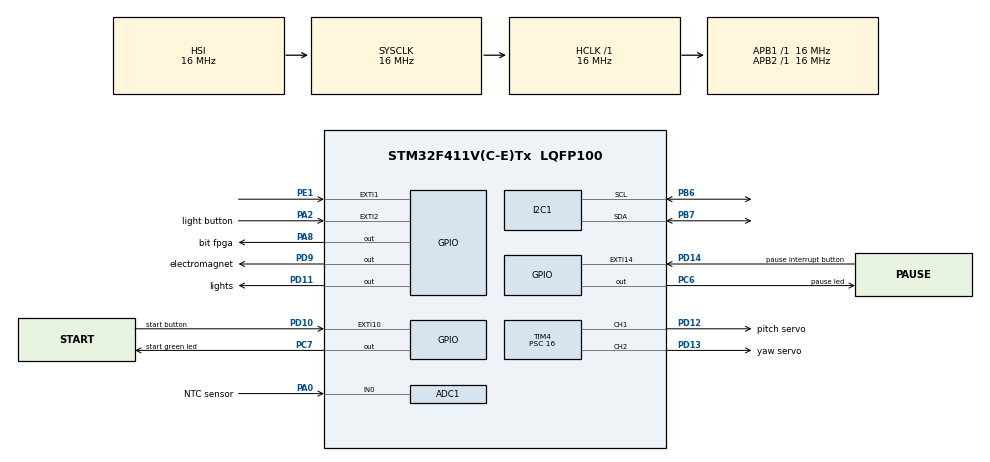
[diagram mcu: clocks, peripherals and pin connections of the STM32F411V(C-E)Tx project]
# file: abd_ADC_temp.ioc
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ADC1.Channel-12\#ChannelRegularConversion=ADC_CHANNEL_0
ADC1.ClockPrescaler=ADC_CLOCK_SYNC_PCLK_DIV8
ADC1.ContinuousConvMode=ENABLE
ADC1.DMAContinuousRequests=ENABLE
ADC1.DataAlign=ADC_DATAALIGN_RIGHT
ADC1.DiscontinuousConvMode=DISABLE
ADC1.EOCSelection=ADC_EOC_SINGLE_CONV
ADC1.EnableAnalogWatchDog=false
ADC1.ExternalTrigConv=ADC_SOFTWARE_START
ADC1.ExternalTrigConvEdge=ADC_EXTERNALTRIGCONVEDGE_NONE
ADC1.InjNumberOfConversion=0
ADC1.NbrOfConversion=1
ADC1.NbrOfConversionFlag=1
ADC1.Rank-12\#ChannelRegularConversion=1
ADC1.Resolution=ADC_RESOLUTION_8B
ADC1.SamplingTime-12\#ChannelRegularConversion=ADC_SAMPLETIME_480CYCLES
ADC1.ScanConvMode=DISABLE
ADC1.master=1
Dma.ADC1.0.Direction=DMA_PERIPH_TO_MEMORY
Dma.ADC1.0.FIFOMode=DMA_FIFOMODE_DISABLE
Dma.ADC1.0.Instance=DMA2_Stream0
Dma.ADC1.0.MemDataAlignment=DMA_MDATAALIGN_BYTE
Dma.ADC1.0.MemInc=DMA_MINC_ENABLE
Dma.ADC1.0.Mode=DMA_CIRCULAR
Dma.ADC1.0.PeriphDataAlignment=DMA_PDATAALIGN_BYTE
Dma.ADC1.0.PeriphInc=DMA_PINC_DISABLE
Dma.ADC1.0.Priority=DMA_PRIORITY_LOW
Dma.Request0=ADC1
I2C1.I2C_Mode=I2C_Fast
Mcu.Family=STM32F4
Mcu.Name=STM32F411V(C-E)Tx
Mcu.Package=LQFP100
NVIC.ADC_IRQn=true\:0\:0\:false\:false\:true\:true
NVIC.DMA2_Stream0_IRQn=true\:0\:0\:false\:false\:true\:false
NVIC.EXTI15_10_IRQn=true\:0\:0\:false\:false\:true\:true
NVIC.EXTI2_IRQn=true\:0\:0\:false\:false\:true\:true
NVIC.PriorityGroup=NVIC_PRIORITYGROUP_4
PA0-WKUP.GPIO_Label=NTC sensor
PA0-WKUP.Signal=ADCx_IN0
PA2.GPIO_Label=light button
PA2.GPIO_ModeDefaultEXTI=GPIO_MODE_IT_FALLING
PA2.GPIO_PuPd=GPIO_PULLUP
PA2.Signal=GPXTI2
PA8.GPIO_Label=bit fpga
PA8.Signal=GPIO_Output
PB6.Mode=I2C
PB6.Signal=I2C1_SCL
PB7.Mode=I2C
PB7.Signal=I2C1_SDA
PC6.GPIO_Label=pause led
PC6.GPIO_PuPd=GPIO_PULLUP
PC6.Signal=GPIO_Output
PC7.GPIO_Label=start green led
PC7.GPIO_PuPd=GPIO_NOPULL
PC7.Signal=GPIO_Output
PD10.GPIO_Label=start button
PD10.GPIO_ModeDefaultEXTI=GPIO_MODE_IT_RISING
PD10.GPIO_PuPd=GPIO_PULLUP
PD10.Signal=GPXTI10
PD11.GPIO_Label=lights
PD11.GPIO_PuPd=GPIO_NOPULL
PD11.Signal=GPIO_Output
PD12.GPIO_Label=pitch servo
PD12.GPIO_PuPd=GPIO_PULLUP
PD12.Signal=S_TIM4_CH1
PD13.GPIO_Label=yaw servo
PD13.GPIO_PuPd=GPIO_PULLUP
PD13.Signal=S_TIM4_CH2
PD14.GPIO_Label=pause interrupt button
PD14.GPIO_ModeDefaultEXTI=GPIO_MODE_IT_RISING
PD14.GPIO_PuPd=GPIO_PULLUP
PD14.Signal=GPXTI14
PD9.GPIO_Label=electromagnet
PD9.GPIO_PuPd=GPIO_PULLDOWN
PD9.PinState=GPIO_PIN_SET
PD9.Signal=GPIO_Output
PE1.Signal=GPXTI1
PH0\ -\ OSC_IN.Mode=HSE-External-Oscillator
PH0\ -\ OSC_IN.Signal=RCC_OSC_IN
PH1\ -\ OSC_OUT.Mode=HSE-External-Oscillator
PH1\ -\ OSC_OUT.Signal=RCC_OSC_OUT
ProjectManager.HeapSize=0x200
ProjectManager.StackSize=0x400
ProjectManager.TargetToolchain=MDK-ARM V5
RCC.AHBFreq_Value=16000000
RCC.APB1Freq_Value=16000000
RCC.APB2Freq_Value=16000000
RCC.CortexFreq_Value=16000000
RCC.HSE_VALUE=25000000
RCC.HSI_VALUE=16000000
RCC.LSE_VALUE=32768
RCC.SYSCLKFreq_VALUE=16000000
RCC.VCOOutputFreq_Value=192000000
SH.ADCx_IN0.0=ADC1_IN0,IN0
SH.S_TIM4_CH1.0=TIM4_CH1,PWM Generation1 CH1
SH.S_TIM4_CH2.0=TIM4_CH2,PWM Generation2 CH2
TIM4.Channel-PWM\ Generation1\ CH1=TIM_CHANNEL_1
TIM4.Channel-PWM\ Generation2\ CH2=TIM_CHANNEL_2
TIM4.Period=19999
TIM4.Prescaler=16
VP_TIM4_VS_ClockSourceINT.Mode=Internal
board=custom

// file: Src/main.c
/**
  ******************************************************************************
  * @file           : main.c
  * @brief          : Main program body
  ******************************************************************************
  ** This notice applies to any and all portions of this file
  * that are not between comment pairs USER CODE BEGIN and
  * USER CODE END. Other portions of this file, whether
  * inserted by the user or by software development tools
  * are owned by their respective copyright owners.
  *
  * COPYRIGHT(c) 2019 STMicroelectronics
  *
  * Redistribution and use in source and binary forms, with or without modification,
  * are permitted provided that the following conditions are met:
  *   1. Redistributions of source code must retain the above copyright notice,
  *      this list of conditions and the following disclaimer.
  *   2. Redistributions in binary form must reproduce the above copyright notice,
  *      this list of conditions and the following disclaimer in the documentation
  *      and/or other materials provided with the distribution.
  *   3. Neither the name of STMicroelectronics nor the names of its contributors
  *      may be used to endorse or promote products derived from this software
  *      without specific prior written permission.
  *
  * THIS SOFTWARE IS PROVIDED BY THE COPYRIGHT HOLDERS AND CONTRIBUTORS "AS IS"
  * AND ANY EXPRESS OR IMPLIED WARRANTIES, INCLUDING, BUT NOT LIMITED TO, THE
  * IMPLIED WARRANTIES OF MERCHANTABILITY AND FITNESS FOR A PARTICULAR PURPOSE ARE
  * DISCLAIMED. IN NO EVENT SHALL THE COPYRIGHT HOLDER OR CONTRIBUTORS BE LIABLE
  * FOR ANY DIRECT, INDIRECT, INCIDENTAL, SPECIAL, EXEMPLARY, OR CONSEQUENTIAL
  * DAMAGES (INCLUDING, BUT NOT LIMITED TO, PROCUREMENT OF SUBSTITUTE GOODS OR
  * SERVICES; LOSS OF USE, DATA, OR PROFITS; OR BUSINESS INTERRUPTION) HOWEVER
  * CAUSED AND ON ANY THEORY OF LIABILITY, WHETHER IN CONTRACT, STRICT LIABILITY,
  * OR TORT (INCLUDING NEGLIGENCE OR OTHERWISE) ARISING IN ANY WAY OUT OF THE USE
  * OF THIS SOFTWARE, EVEN IF ADVISED OF THE POSSIBILITY OF SUCH DAMAGE.
  *
  ******************************************************************************
  */
#include "main.h"
#include "stm32f4xx_hal.h"

/* USER CODE BEGIN Includes */
#include <math.h>
#include <stdbool.h>
#include "ssd1306.h"
#include <stdlib.h>
/* USER CODE END Includes */

ADC_HandleTypeDef hadc1;
DMA_HandleTypeDef hdma_adc1;

I2C_HandleTypeDef hi2c1;

TIM_HandleTypeDef htim4;

/* USER CODE BEGIN PV */
/* Private variables ---------------------------------------------------------*/

/* USER CODE END PV */

void SystemClock_Config(void);
static void MX_GPIO_Init(void);
static void MX_DMA_Init(void);
static void MX_ADC1_Init(void);
static void MX_TIM4_Init(void);
static void MX_I2C1_Init(void);

void HAL_TIM_MspPostInit(TIM_HandleTypeDef *htim);

/* USER CODE BEGIN PFP */
/* Private function prototypes -----------------------------------------------*/

/* USER CODE END PFP */

/* USER CODE BEGIN 0 */
uint32_t ADC_val[1] ,adc_buffer[1];

uint8_t oledCheck;

float therm = 0;
float R25 = 100000;
float T25 = 298.15;
float Vref = 3.3;
float Vmeas = 0;
float Vmeas0 = 0;
float Rmeas = 0;
float Tmeas = 0;
float B = 4092;
float Temp = 0;
float T = 0;

bool start_flag = 0;
bool magnetON = 0;  // flag para el robot segun esta el iman ON u OFF
bool boxDrop = 0; // flag para el movimiento de la caja desde la cinta a la cesta
bool pause = 0;
bool flag2 = 0;
bool  bit_robot = 0;
bool  bit_fpga = 0;

struct Servo {
  uint32_t initPos;
  uint32_t finPos;
  uint32_t Pos;
}yaw_servo, pitch_servo;

  void oled_print(float *temp){
    char oled_string[3];

    sprintf(oled_string, "%f", *temp); // copiamos el valor de la tmeperatura en eun string
    oledCheck = SSD1306_Init ();
    SSD1306_UpdateScreen(); //muestra los cambios en el display
    SSD1306_GotoXY (40,10); //posicion 10,10
    SSD1306_Puts (oled_string, &Font_11x18, 1);
    SSD1306_UpdateScreen(); //display
  }

  void updateServos(struct Servo *pitch_servo, struct Servo *yaw_servo){
     __HAL_TIM_SET_COMPARE (&htim4, TIM_CHANNEL_1, pitch_servo->Pos);
     __HAL_TIM_SET_COMPARE (&htim4, TIM_CHANNEL_2, yaw_servo->Pos);
  }

  void activate_EM(){
    HAL_GPIO_WritePin(GPIOD, GPIO_PIN_9, GPIO_PIN_RESET);
    magnetON = 1;
  }

  void deactivate_EM(){
    HAL_GPIO_WritePin(GPIOD, GPIO_PIN_9, GPIO_PIN_SET);
    magnetON = 0;
  }

  float calc_temp(float *ADC_reading){  // Conversion de la lectura en V del DAC del NTC a temperatura en grados Celsius
    Vmeas = Vref * (Vmeas0/255);
    Rmeas = R25 *((Vref/Vmeas)-1);
    Tmeas = 1/((logf(Rmeas/R25)/B) + (1/T25));
    T = Tmeas - 273;

    return T;
  }

	void HAL_ADC_ConvCpltCallback(ADC_HandleTypeDef *hadc){
		if(hadc->Instance == ADC1)
			ADC_val[0] = adc_buffer[0];
	}

/* USER CODE END 0 */

int main(void)
{
  /* USER CODE BEGIN 1 */
	  HAL_GPIO_WritePin(GPIOC,GPIO_PIN_7,0);

		oledCheck = SSD1306_Init ();
    SSD1306_UpdateScreen(); //muestra los cambios en el display
    SSD1306_GotoXY (40,10); //posicion 10,10
	  SSD1306_Puts ("max temp= 150C", &Font_11x18, 1);
    SSD1306_UpdateScreen(); //display

  /* USER CODE END 1 */

  /* MCU Configuration----------------------------------------------------------*/

  /* Reset of all peripherals, Initializes the Flash interface and the Systick. */
  HAL_Init();

  /* USER CODE BEGIN Init */
  yaw_servo.initPos = 1900;
  yaw_servo.finPos = 1000;
  yaw_servo.Pos = yaw_servo.initPos;

  pitch_servo.initPos = 1800;
  pitch_servo.finPos = 1300;
  pitch_servo.Pos = pitch_servo.initPos;

	HAL_GPIO_WritePin(GPIOD, GPIO_PIN_9, GPIO_PIN_RESET);

  oledCheck = SSD1306_Init ();
	SSD1306_Fill (0); //color negro
	SSD1306_UpdateScreen(); //muestra los cambios en el display
	SSD1306_GotoXY (40,10); //posicion 10,10
	SSD1306_Puts ("SEND", &Font_11x18, 1);
	SSD1306_GotoXY (35, 30); //posicion 10,30
	SSD1306_Puts ("NUDES!", &Font_11x18, 1);
	SSD1306_UpdateScreen(); //display
  /* USER CODE END Init */

  /* Configure the system clock */
  SystemClock_Config();

  /* Initialize all configured peripherals */
  MX_GPIO_Init();
  MX_DMA_Init();
  MX_ADC1_Init();
  MX_TIM4_Init();
  MX_I2C1_Init();
  /* USER CODE BEGIN 2 */
  HAL_ADC_Start_DMA(&hadc1, adc_buffer, 1);
  HAL_TIM_PWM_Start (&htim4,TIM_CHANNEL_1);
  HAL_TIM_PWM_Start (&htim4,TIM_CHANNEL_2);

  __HAL_TIM_SET_COMPARE (&htim4, TIM_CHANNEL_1, pitch_servo.initPos);
	__HAL_TIM_SET_COMPARE (&htim4, TIM_CHANNEL_2, yaw_servo.initPos);

  /* USER CODE END 2 */

  /* Infinite loop */
  while (1){

  /* USER CODE BEGIN 3 */

		Vmeas0 = (float)ADC_val[0];

    Temp = calc_temp(&T);
		if(!bit_robot){
		if(!pause){
    if(start_flag){
      if(!magnetON){

        if(pitch_servo.Pos == pitch_servo.finPos){
          activate_EM();
          HAL_Delay(1000);
        }
        if(pitch_servo.Pos > pitch_servo.finPos){
         pitch_servo.Pos-= 1;
         HAL_Delay(1);
        }
      }

      if(magnetON){

        if(!boxDrop){
          if(yaw_servo.Pos > yaw_servo.finPos){
            yaw_servo.Pos -= 1;
            HAL_Delay(1);
          }

          if(pitch_servo.Pos < pitch_servo.initPos){
            pitch_servo.Pos+= 1;
            HAL_Delay(1);
          }

          if(yaw_servo.Pos == yaw_servo.finPos && pitch_servo.Pos == pitch_servo.initPos){
            HAL_Delay(200);
            boxDrop = true;
          }
				}

        if(boxDrop){
          pitch_servo.Pos -= 1;
          HAL_Delay(1);
          if(pitch_servo.Pos == pitch_servo.finPos){
						HAL_Delay(1000);
						deactivate_EM();
            boxDrop = false;
						start_flag = 0;
          }
        }
			}

  }
	}
    updateServos(&pitch_servo, &yaw_servo);
	}
  }
  /* USER CODE END 3 */

}

void SystemClock_Config(void)
{

  RCC_OscInitTypeDef RCC_OscInitStruct;
  RCC_ClkInitTypeDef RCC_ClkInitStruct;

    /**Configure the main internal regulator output voltage
    */
  __HAL_RCC_PWR_CLK_ENABLE();

  __HAL_PWR_VOLTAGESCALING_CONFIG(PWR_REGULATOR_VOLTAGE_SCALE1);

    /**Initializes the CPU, AHB and APB busses clocks
    */
  RCC_OscInitStruct.OscillatorType = RCC_OSCILLATORTYPE_HSI;
  RCC_OscInitStruct.HSIState = RCC_HSI_ON;
  RCC_OscInitStruct.HSICalibrationValue = 16;
  RCC_OscInitStruct.PLL.PLLState = RCC_PLL_NONE;
  if (HAL_RCC_OscConfig(&RCC_OscInitStruct) != HAL_OK)
  {
    _Error_Handler(__FILE__, __LINE__);
  }

    /**Initializes the CPU, AHB and APB busses clocks
    */
  RCC_ClkInitStruct.ClockType = RCC_CLOCKTYPE_HCLK|RCC_CLOCKTYPE_SYSCLK
                              |RCC_CLOCKTYPE_PCLK1|RCC_CLOCKTYPE_PCLK2;
  RCC_ClkInitStruct.SYSCLKSource = RCC_SYSCLKSOURCE_HSI;
  RCC_ClkInitStruct.AHBCLKDivider = RCC_SYSCLK_DIV1;
  RCC_ClkInitStruct.APB1CLKDivider = RCC_HCLK_DIV1;
  RCC_ClkInitStruct.APB2CLKDivider = RCC_HCLK_DIV1;

  if (HAL_RCC_ClockConfig(&RCC_ClkInitStruct, FLASH_LATENCY_0) != HAL_OK)
  {
    _Error_Handler(__FILE__, __LINE__);
  }

    /**Configure the Systick interrupt time
    */
  HAL_SYSTICK_Config(HAL_RCC_GetHCLKFreq()/1000);

    /**Configure the Systick
    */
  HAL_SYSTICK_CLKSourceConfig(SYSTICK_CLKSOURCE_HCLK);

  /* SysTick_IRQn interrupt configuration */
  HAL_NVIC_SetPriority(SysTick_IRQn, 0, 0);
}

/* ADC1 init function */
static void MX_ADC1_Init(void)
{

  ADC_ChannelConfTypeDef sConfig;

    /**Configure the global features of the ADC (Clock, Resolution, Data Alignment and number of conversion)
    */
  hadc1.Instance = ADC1;
  hadc1.Init.ClockPrescaler = ADC_CLOCK_SYNC_PCLK_DIV8;
  hadc1.Init.Resolution = ADC_RESOLUTION_8B;
  hadc1.Init.ScanConvMode = DISABLE;
  hadc1.Init.ContinuousConvMode = ENABLE;
  hadc1.Init.DiscontinuousConvMode = DISABLE;
  hadc1.Init.ExternalTrigConvEdge = ADC_EXTERNALTRIGCONVEDGE_NONE;
  hadc1.Init.ExternalTrigConv = ADC_SOFTWARE_START;
  hadc1.Init.DataAlign = ADC_DATAALIGN_RIGHT;
  hadc1.Init.NbrOfConversion = 1;
  hadc1.Init.DMAContinuousRequests = ENABLE;
  hadc1.Init.EOCSelection = ADC_EOC_SINGLE_CONV;
  if (HAL_ADC_Init(&hadc1) != HAL_OK)
  {
    _Error_Handler(__FILE__, __LINE__);
  }

    /**Configure for the selected ADC regular channel its corresponding rank in the sequencer and its sample time.
    */
  sConfig.Channel = ADC_CHANNEL_0;
  sConfig.Rank = 1;
  sConfig.SamplingTime = ADC_SAMPLETIME_480CYCLES;
  if (HAL_ADC_ConfigChannel(&hadc1, &sConfig) != HAL_OK)
  {
    _Error_Handler(__FILE__, __LINE__);
  }

}

/* I2C1 init function */
static void MX_I2C1_Init(void)
{

  hi2c1.Instance = I2C1;
  hi2c1.Init.ClockSpeed = 400000;
  hi2c1.Init.DutyCycle = I2C_DUTYCYCLE_2;
  hi2c1.Init.OwnAddress1 = 0;
  hi2c1.Init.AddressingMode = I2C_ADDRESSINGMODE_7BIT;
  hi2c1.Init.DualAddressMode = I2C_DUALADDRESS_DISABLE;
  hi2c1.Init.OwnAddress2 = 0;
  hi2c1.Init.GeneralCallMode = I2C_GENERALCALL_DISABLE;
  hi2c1.Init.NoStretchMode = I2C_NOSTRETCH_DISABLE;
  if (HAL_I2C_Init(&hi2c1) != HAL_OK)
  {
    _Error_Handler(__FILE__, __LINE__);
  }

}

/* TIM4 init function */
static void MX_TIM4_Init(void)
{

  TIM_ClockConfigTypeDef sClockSourceConfig;
  TIM_MasterConfigTypeDef sMasterConfig;
  TIM_OC_InitTypeDef sConfigOC;

  htim4.Instance = TIM4;
  htim4.Init.Prescaler = 16;
  htim4.Init.CounterMode = TIM_COUNTERMODE_UP;
  htim4.Init.Period = 19999;
  htim4.Init.ClockDivision = TIM_CLOCKDIVISION_DIV1;
  if (HAL_TIM_Base_Init(&htim4) != HAL_OK)
  {
    _Error_Handler(__FILE__, __LINE__);
  }

  sClockSourceConfig.ClockSource = TIM_CLOCKSOURCE_INTERNAL;
  if (HAL_TIM_ConfigClockSource(&htim4, &sClockSourceConfig) != HAL_OK)
  {
    _Error_Handler(__FILE__, __LINE__);
  }

  if (HAL_TIM_PWM_Init(&htim4) != HAL_OK)
  {
    _Error_Handler(__FILE__, __LINE__);
  }

  sMasterConfig.MasterOutputTrigger = TIM_TRGO_RESET;
  sMasterConfig.MasterSlaveMode = TIM_MASTERSLAVEMODE_DISABLE;
  if (HAL_TIMEx_MasterConfigSynchronization(&htim4, &sMasterConfig) != HAL_OK)
  {
    _Error_Handler(__FILE__, __LINE__);
  }

  sConfigOC.OCMode = TIM_OCMODE_PWM1;
  sConfigOC.Pulse = 0;
  sConfigOC.OCPolarity = TIM_OCPOLARITY_HIGH;
  sConfigOC.OCFastMode = TIM_OCFAST_DISABLE;
  if (HAL_TIM_PWM_ConfigChannel(&htim4, &sConfigOC, TIM_CHANNEL_1) != HAL_OK)
  {
    _Error_Handler(__FILE__, __LINE__);
  }

  if (HAL_TIM_PWM_ConfigChannel(&htim4, &sConfigOC, TIM_CHANNEL_2) != HAL_OK)
  {
    _Error_Handler(__FILE__, __LINE__);
  }

  HAL_TIM_MspPostInit(&htim4);

}

static void MX_DMA_Init(void)
{
  /* DMA controller clock enable */
  __HAL_RCC_DMA2_CLK_ENABLE();

  /* DMA interrupt init */
  /* DMA2_Stream0_IRQn interrupt configuration */
  HAL_NVIC_SetPriority(DMA2_Stream0_IRQn, 0, 0);
  HAL_NVIC_EnableIRQ(DMA2_Stream0_IRQn);

}

/** Configure pins as
        * Analog
        * Input
        * Output
        * EVENT_OUT
        * EXTI
*/
static void MX_GPIO_Init(void)
{

  GPIO_InitTypeDef GPIO_InitStruct;

  /* GPIO Ports Clock Enable */
  __HAL_RCC_GPIOH_CLK_ENABLE();
  __HAL_RCC_GPIOA_CLK_ENABLE();
  __HAL_RCC_GPIOD_CLK_ENABLE();
  __HAL_RCC_GPIOC_CLK_ENABLE();
  __HAL_RCC_GPIOB_CLK_ENABLE();
  __HAL_RCC_GPIOE_CLK_ENABLE();

  /*Configure GPIO pin Output Level */
  HAL_GPIO_WritePin(electromagnet_GPIO_Port, electromagnet_Pin, GPIO_PIN_SET);

  /*Configure GPIO pin Output Level */
  HAL_GPIO_WritePin(lights_GPIO_Port, lights_Pin, GPIO_PIN_RESET);

  /*Configure GPIO pin Output Level */
  HAL_GPIO_WritePin(GPIOC, pause_led_Pin|start_green_led_Pin, GPIO_PIN_RESET);

  /*Configure GPIO pin Output Level */
  HAL_GPIO_WritePin(bit_fpga_GPIO_Port, bit_fpga_Pin, GPIO_PIN_RESET);

  /*Configure GPIO pin : light_button_Pin */
  GPIO_InitStruct.Pin = light_button_Pin;
  GPIO_InitStruct.Mode = GPIO_MODE_IT_FALLING;
  GPIO_InitStruct.Pull = GPIO_PULLUP;
  HAL_GPIO_Init(light_button_GPIO_Port, &GPIO_InitStruct);

  /*Configure GPIO pin : electromagnet_Pin */
  GPIO_InitStruct.Pin = electromagnet_Pin;
  GPIO_InitStruct.Mode = GPIO_MODE_OUTPUT_PP;
  GPIO_InitStruct.Pull = GPIO_PULLDOWN;
  GPIO_InitStruct.Speed = GPIO_SPEED_FREQ_LOW;
  HAL_GPIO_Init(electromagnet_GPIO_Port, &GPIO_InitStruct);

  /*Configure GPIO pins : start_button_Pin pause_interrupt_button_Pin */
  GPIO_InitStruct.Pin = start_button_Pin|pause_interrupt_button_Pin;
  GPIO_InitStruct.Mode = GPIO_MODE_IT_RISING;
  GPIO_InitStruct.Pull = GPIO_PULLUP;
  HAL_GPIO_Init(GPIOD, &GPIO_InitStruct);

  /*Configure GPIO pin : lights_Pin */
  GPIO_InitStruct.Pin = lights_Pin;
  GPIO_InitStruct.Mode = GPIO_MODE_OUTPUT_PP;
  GPIO_InitStruct.Pull = GPIO_NOPULL;
  GPIO_InitStruct.Speed = GPIO_SPEED_FREQ_LOW;
  HAL_GPIO_Init(lights_GPIO_Port, &GPIO_InitStruct);

  /*Configure GPIO pin : pause_led_Pin */
  GPIO_InitStruct.Pin = pause_led_Pin;
  GPIO_InitStruct.Mode = GPIO_MODE_OUTPUT_PP;
  GPIO_InitStruct.Pull = GPIO_PULLUP;
  GPIO_InitStruct.Speed = GPIO_SPEED_FREQ_LOW;
  HAL_GPIO_Init(pause_led_GPIO_Port, &GPIO_InitStruct);

  /*Configure GPIO pin : start_green_led_Pin */
  GPIO_InitStruct.Pin = start_green_led_Pin;
  GPIO_InitStruct.Mode = GPIO_MODE_OUTPUT_PP;
  GPIO_InitStruct.Pull = GPIO_NOPULL;
  GPIO_InitStruct.Speed = GPIO_SPEED_FREQ_LOW;
  HAL_GPIO_Init(start_green_led_GPIO_Port, &GPIO_InitStruct);

  /*Configure GPIO pin : bit_fpga_Pin */
  GPIO_InitStruct.Pin = bit_fpga_Pin;
  GPIO_InitStruct.Mode = GPIO_MODE_OUTPUT_PP;
  GPIO_InitStruct.Pull = GPIO_NOPULL;
  GPIO_InitStruct.Speed = GPIO_SPEED_FREQ_LOW;
  HAL_GPIO_Init(bit_fpga_GPIO_Port, &GPIO_InitStruct);

  /*Configure GPIO pin : PE1 */
  GPIO_InitStruct.Pin = GPIO_PIN_1;
  GPIO_InitStruct.Mode = GPIO_MODE_IT_RISING;
  GPIO_InitStruct.Pull = GPIO_NOPULL;
  HAL_GPIO_Init(GPIOE, &GPIO_InitStruct);

  /* EXTI interrupt init*/
  HAL_NVIC_SetPriority(EXTI2_IRQn, 0, 0);
  HAL_NVIC_EnableIRQ(EXTI2_IRQn);

  HAL_NVIC_SetPriority(EXTI15_10_IRQn, 0, 0);
  HAL_NVIC_EnableIRQ(EXTI15_10_IRQn);

}

/* USER CODE BEGIN 4 */

	void HAL_GPIO_EXTI_Callback(uint16_t GPIO_Pin){	// start
		if( GPIO_Pin == GPIO_PIN_10){
			HAL_GPIO_WritePin(GPIOC,GPIO_PIN_7, GPIO_PIN_SET);
			start_flag = !start_flag;
		}

		if (GPIO_Pin == GPIO_PIN_2){		//light
			HAL_GPIO_TogglePin(GPIOD,GPIO_PIN_11);
		}

		if (GPIO_Pin == GPIO_PIN_14){
			pause = !pause;
			HAL_GPIO_TogglePin(GPIOC,GPIO_PIN_6);

		}

		if (GPIO_Pin == GPIO_PIN_1){
			bit_robot =! bit_robot;
		}

		else{

		}
	}

/* USER CODE END 4 */

void _Error_Handler(char *file, int line)
{
  while(1)
  {
  }
}

/************************ (C) COPYRIGHT STMicroelectronics *****END OF FILE****/
